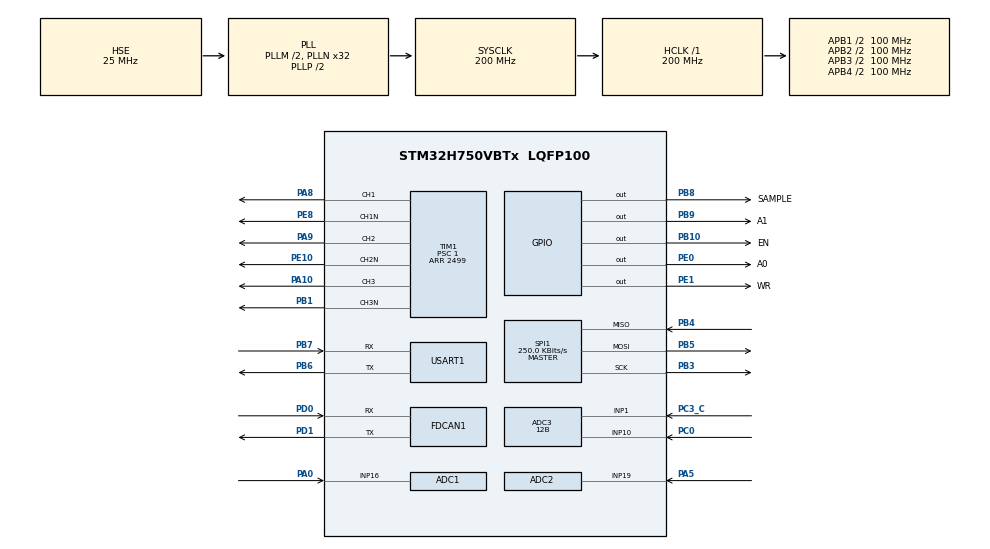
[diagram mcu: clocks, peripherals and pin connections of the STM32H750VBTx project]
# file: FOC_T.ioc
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ADC1.Channel-0\#ChannelRegularConversion=ADC_CHANNEL_16
ADC1.ClockPrescaler=ADC_CLOCK_ASYNC_DIV4
ADC1.EOCSelection=ADC_EOC_SEQ_CONV
ADC1.EnableInjectedConversion=ENABLE
ADC1.ExternalTrigInjecConv=ADC_EXTERNALTRIGINJEC_T1_TRGO2
ADC1.InjNumberOfConversion=1
ADC1.InjectedChannel-1\#ChannelInjectedConversion=ADC_CHANNEL_16
ADC1.InjectedOffsetNumber-1\#ChannelInjectedConversion=ADC_OFFSET_NONE
ADC1.InjectedOffsetSaturation-1\#ChannelInjectedConversion=DISABLE
ADC1.InjectedRank-1\#ChannelInjectedConversion=1
ADC1.InjectedSamplingTime-1\#ChannelInjectedConversion=ADC_SAMPLETIME_64CYCLES_5
ADC1.NbrOfConversionFlag=1
ADC1.OffsetNumber-0\#ChannelRegularConversion=ADC_OFFSET_NONE
ADC1.OffsetSignedSaturation-0\#ChannelRegularConversion=DISABLE
ADC1.Overrun=ADC_OVR_DATA_PRESERVED
ADC1.Rank-0\#ChannelRegularConversion=1
ADC1.Resolution=ADC_RESOLUTION_12B
ADC1.SamplingTime-0\#ChannelRegularConversion=ADC_SAMPLETIME_1CYCLE_5
ADC1.master=1
ADC2.ClockPrescaler=ADC_CLOCK_ASYNC_DIV4
ADC2.EOCSelection=ADC_EOC_SEQ_CONV
ADC2.EnableInjectedConversion=ENABLE
ADC2.EnableRegularConversion=DISABLE
ADC2.ExternalTrigInjecConv=ADC_EXTERNALTRIGINJEC_T1_TRGO2
ADC2.InjNumberOfConversion=1
ADC2.InjectedChannel-1\#ChannelInjectedConversion=ADC_CHANNEL_19
ADC2.InjectedOffsetNumber-1\#ChannelInjectedConversion=ADC_OFFSET_NONE
ADC2.InjectedOffsetSaturation-1\#ChannelInjectedConversion=DISABLE
ADC2.InjectedRank-1\#ChannelInjectedConversion=1
ADC2.InjectedSamplingTime-1\#ChannelInjectedConversion=ADC_SAMPLETIME_64CYCLES_5
ADC2.Resolution=ADC_RESOLUTION_12B
ADC3.ClockPrescaler=ADC_CLOCK_ASYNC_DIV4
ADC3.EOCSelection=ADC_EOC_SEQ_CONV
ADC3.EnableInjectedConversion=ENABLE
ADC3.EnableRegularConversion=DISABLE
ADC3.ExternalTrigInjecConv=ADC_EXTERNALTRIGINJEC_T1_TRGO2
ADC3.InjNumberOfConversion=2
ADC3.InjectedChannel-1\#ChannelInjectedConversion=ADC_CHANNEL_10
ADC3.InjectedChannel-2\#ChannelInjectedConversion=ADC_CHANNEL_1
ADC3.InjectedOffsetNumber-1\#ChannelInjectedConversion=ADC_OFFSET_NONE
ADC3.InjectedOffsetNumber-2\#ChannelInjectedConversion=ADC_OFFSET_NONE
ADC3.InjectedOffsetSaturation-1\#ChannelInjectedConversion=DISABLE
ADC3.InjectedOffsetSaturation-2\#ChannelInjectedConversion=DISABLE
ADC3.InjectedRank-1\#ChannelInjectedConversion=1
ADC3.InjectedRank-2\#ChannelInjectedConversion=2
ADC3.InjectedSamplingTime-1\#ChannelInjectedConversion=ADC_SAMPLETIME_64CYCLES_5
ADC3.InjectedSamplingTime-2\#ChannelInjectedConversion=ADC_SAMPLETIME_64CYCLES_5
ADC3.Resolution=ADC_RESOLUTION_12B
CORTEX_M7.default_mode_Activation=1
FDCAN1.CalculateBaudRateNominal=500000
FDCAN1.CalculateTimeBitNominal=2000
FDCAN1.CalculateTimeQuantumNominal=200.0
FDCAN1.DataPrescaler=5
FDCAN1.DataTimeSeg1=7
FDCAN1.DataTimeSeg2=2
FDCAN1.NominalPrescaler=5
FDCAN1.NominalTimeSeg1=7
FDCAN1.NominalTimeSeg2=2
FDCAN1.RxFifo0ElmtsNbr=8
FDCAN1.StdFiltersNbr=1
FDCAN1.TxFifoQueueElmtsNbr=32
FREERTOS.Tasks01=appTask,24,1024,StartAppTask,Default,NULL,Dynamic,NULL,NULL
FREERTOS.configCHECK_FOR_STACK_OVERFLOW=2
FREERTOS.configTOTAL_HEAP_SIZE=16384
FREERTOS.configUSE_IDLE_HOOK=1
FREERTOS.configUSE_MALLOC_FAILED_HOOK=1
Mcu.Family=STM32H7
Mcu.Name=STM32H750VBTx
Mcu.Package=LQFP100
NVIC.PriorityGroup=NVIC_PRIORITYGROUP_4
NVIC.TIM1_UP_IRQn=true\:0\:0\:true\:false\:true\:false\:true\:true\:true
NVIC.TIM7_IRQn=true\:4\:0\:true\:false\:true\:false\:false\:true\:true
NVIC.TimeBase=TIM7_IRQn
NVIC.TimeBaseIP=TIM7
NVIC.USART1_IRQn=true\:5\:0\:true\:false\:true\:true\:true\:true\:true
PA0.Mode=IN16-Single-Ended
PA0.Signal=ADC1_INP16
PA10.Signal=S_TIM1_CH3
PA13\ (JTMS/SWDIO).Mode=Serial_Wire
PA13\ (JTMS/SWDIO).Signal=DEBUG_JTMS-SWDIO
PA14\ (JTCK/SWCLK).Mode=Serial_Wire
PA14\ (JTCK/SWCLK).Signal=DEBUG_JTCK-SWCLK
PA5.Signal=ADCx_INP19
PA8.Signal=S_TIM1_CH1
PA9.Signal=S_TIM1_CH2
PB1.Mode=PWM Generation3 CH3 CH3N
PB1.Signal=TIM1_CH3N
PB10.GPIO_Label=EN
PB10.Signal=GPIO_Output
PB3\ (JTDO/TRACESWO).Mode=Full_Duplex_Master
PB3\ (JTDO/TRACESWO).Signal=SPI1_SCK
PB4\ (NJTRST).Mode=Full_Duplex_Master
PB4\ (NJTRST).Signal=SPI1_MISO
PB5.Mode=Full_Duplex_Master
PB5.Signal=SPI1_MOSI
PB6.Mode=Asynchronous
PB6.Signal=USART1_TX
PB7.Mode=Asynchronous
PB7.Signal=USART1_RX
PB8.GPIO_Label=SAMPLE
PB8.PinState=GPIO_PIN_SET
PB8.Signal=GPIO_Output
PB9.GPIO_Label=A1
PB9.PinState=GPIO_PIN_SET
PB9.Signal=GPIO_Output
PC0.Signal=ADCx_INP10
PC3_C.Mode=IN1-Single-Ended
PC3_C.Signal=ADC3_INP1
PD0.Mode=FDCAN_Activate
PD0.Signal=FDCAN1_RX
PD1.Mode=FDCAN_Activate
PD1.Signal=FDCAN1_TX
PE0.GPIO_Label=A0
PE0.PinState=GPIO_PIN_SET
PE0.Signal=GPIO_Output
PE1.GPIO_Label=WR
PE1.PinState=GPIO_PIN_SET
PE1.Signal=GPIO_Output
PE10.Mode=PWM Generation2 CH2 CH2N
PE10.Signal=TIM1_CH2N
PE8.Mode=PWM Generation1 CH1 CH1N
PE8.Signal=TIM1_CH1N
PH0-OSC_IN\ (PH0).Mode=HSE-External-Oscillator
PH0-OSC_IN\ (PH0).Signal=RCC_OSC_IN
PH1-OSC_OUT\ (PH1).Mode=HSE-External-Oscillator
PH1-OSC_OUT\ (PH1).Signal=RCC_OSC_OUT
ProjectManager.HeapSize=0x200
ProjectManager.StackSize=0x1000
ProjectManager.TargetToolchain=MDK-ARM V5.32
RCC.ADCCLockSelection=RCC_ADCCLKSOURCE_CLKP
RCC.ADCFreq_Value=64000000
RCC.APB1Freq_Value=100000000
RCC.APB2Freq_Value=100000000
RCC.APB3Freq_Value=100000000
RCC.APB4Freq_Value=100000000
RCC.CortexFreq_Value=200000000
RCC.D1PPRE=RCC_APB3_DIV2
RCC.D2PPRE1=RCC_APB1_DIV2
RCC.D2PPRE2=RCC_APB2_DIV2
RCC.D3PPRE=RCC_APB4_DIV2
RCC.DIVM1=2
RCC.DIVN1=32
RCC.FDCANCLockSelection=RCC_FDCANCLKSOURCE_HSE
RCC.HCLKFreq_Value=200000000
RCC.PLL2FRACN=0
RCC.PLL3FRACN=0
RCC.PLLFRACN=0
RCC.PLLSourceVirtual=RCC_PLLSOURCE_HSE
RCC.PWR_Regulator_Voltage_Scale=PWR_REGULATOR_VOLTAGE_SCALE1
RCC.SPI123CLockSelection=RCC_SPI123CLKSOURCE_CLKP
RCC.SYSCLKFreq_VALUE=200000000
RCC.SYSCLKSource=RCC_SYSCLKSOURCE_PLLCLK
RCC.USBFreq_Value=200000000
SH.ADCx_INP10.0=ADC3_INP10,IN10-Single-Ended
SH.ADCx_INP19.0=ADC2_INP19,IN19-Single-Ended
SH.S_TIM1_CH1.0=TIM1_CH1,PWM Generation1 CH1 CH1N
SH.S_TIM1_CH2.0=TIM1_CH2,PWM Generation2 CH2 CH2N
SH.S_TIM1_CH3.0=TIM1_CH3,PWM Generation3 CH3 CH3N
SPI1.BaudRatePrescaler=SPI_BAUDRATEPRESCALER_256
SPI1.CLKPhase=SPI_PHASE_2EDGE
SPI1.CalculateBaudRate=250.0 KBits/s
SPI1.DataSize=SPI_DATASIZE_8BIT
SPI1.Direction=SPI_DIRECTION_2LINES
SPI1.Mode=SPI_MODE_MASTER
SPI1.NSSPMode=SPI_NSS_PULSE_DISABLE
SPI1.VirtualType=VM_MASTER
TIM1.Channel-PWM\ Generation1\ CH1\ CH1N=TIM_CHANNEL_1
TIM1.Channel-PWM\ Generation2\ CH2\ CH2N=TIM_CHANNEL_2
TIM1.Channel-PWM\ Generation3\ CH3\ CH3N=TIM_CHANNEL_3
TIM1.Channel-PWM\ Generation4\ No\ Output=TIM_CHANNEL_4
TIM1.CounterMode=TIM_COUNTERMODE_CENTERALIGNED1
TIM1.DeadTime=100
TIM1.OCMode_PWM-PWM\ Generation4\ No\ Output=TIM_OCMODE_PWM2
TIM1.Period=2499
TIM1.Prescaler=1
TIM1.Pulse-PWM\ Generation4\ No\ Output=1250
TIM1.RepetitionCounter=1
TIM1.TIM_MasterOutputTrigger=TIM_TRGO_UPDATE
TIM1.TIM_MasterOutputTrigger2=TIM_TRGO2_OC4REF
USART1.FIFOMode=FIFOMODE_DISABLE
USART1.VirtualMode-Asynchronous=VM_ASYNC
VP_FREERTOS_VS_CMSIS_V2.Mode=CMSIS_V2
VP_MEMORYMAP_VS_MEMORYMAP.Mode=CurAppReg
VP_RNG_VS_RNG.Mode=RNG_Activate
VP_SYS_VS_tim7.Mode=TIM7
VP_TIM1_VS_ClockSourceINT.Mode=Internal
VP_TIM1_VS_no_output4.Mode=PWM Generation4 No Output
board=custom

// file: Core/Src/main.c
/* USER CODE BEGIN Header */
/**
  ******************************************************************************
  * @file           : main.c
  * @brief          : Main program body
  ******************************************************************************
  * @attention
  *
  * Copyright (c) 2026 STMicroelectronics.
  * All rights reserved.
  *
  * This software is licensed under terms that can be found in the LICENSE file
  * in the root directory of this software component.
  * If no LICENSE file comes with this software, it is provided AS-IS.
  *
  ******************************************************************************
  */
/* USER CODE END Header */
#include "main.h"
#include "cmsis_os.h"
#include "adc.h"
#include "fdcan.h"
#include "rng.h"
#include "spi.h"
#include "tim.h"
#include "usart.h"
#include "gpio.h"

/* USER CODE BEGIN Includes */
#include "app_runtime.h"
#include "board_safety.h"
/* USER CODE END Includes */

void SystemClock_Config(void);
void PeriphCommonClock_Config(void);
static void MPU_Config(void);
void MX_FREERTOS_Init(void);

int main(void)
{

  /* MPU Configuration--------------------------------------------------------*/
  MPU_Config();

  /* MCU Configuration--------------------------------------------------------*/

  /* Reset of all peripherals, Initializes the Flash interface and the Systick. */
  HAL_Init();

  /* USER CODE BEGIN Init */
  BoardSafety_InitSafe();
  /* USER CODE END Init */

  /* Configure the system clock */
  SystemClock_Config();

  /* Configure the peripherals common clocks */
  PeriphCommonClock_Config();

  /* Initialize all configured peripherals */
  MX_GPIO_Init();
  MX_TIM1_Init();
  MX_ADC1_Init();
  MX_ADC2_Init();
  MX_ADC3_Init();
  MX_SPI1_Init();
  MX_USART1_UART_Init();
  MX_FDCAN1_Init();
  MX_RNG_Init();
  /* USER CODE BEGIN 2 */
  AppRuntime_Init();
  /* USER CODE END 2 */

  /* Init scheduler */
  osKernelInitialize();  /* Call init function for freertos objects (in cmsis_os2.c) */
  MX_FREERTOS_Init();

  /* Start scheduler */
  osKernelStart();

  /* We should never get here as control is now taken by the scheduler */

  /* Infinite loop */
  /* USER CODE BEGIN WHILE */
  BoardSafety_Fatal(BOARD_FAULT_KERNEL); /* osKernelStart must not return. */
  while (1)
  {
    /* USER CODE END WHILE */

  }
}

void SystemClock_Config(void)
{
  RCC_OscInitTypeDef RCC_OscInitStruct = {0};
  RCC_ClkInitTypeDef RCC_ClkInitStruct = {0};

  /** Supply configuration update enable
  */
  HAL_PWREx_ConfigSupply(PWR_LDO_SUPPLY);

  /** Configure the main internal regulator output voltage
  */
  __HAL_PWR_VOLTAGESCALING_CONFIG(PWR_REGULATOR_VOLTAGE_SCALE1);

  while(!__HAL_PWR_GET_FLAG(PWR_FLAG_VOSRDY)) {}

  /** Initializes the RCC Oscillators according to the specified parameters
  * in the RCC_OscInitTypeDef structure.
  */
  RCC_OscInitStruct.OscillatorType = RCC_OSCILLATORTYPE_HSI48|RCC_OSCILLATORTYPE_HSI
                              |RCC_OSCILLATORTYPE_HSE;
  RCC_OscInitStruct.HSEState = RCC_HSE_ON;
  RCC_OscInitStruct.HSIState = RCC_HSI_DIV1;
  RCC_OscInitStruct.HSICalibrationValue = RCC_HSICALIBRATION_DEFAULT;
  RCC_OscInitStruct.HSI48State = RCC_HSI48_ON;
  RCC_OscInitStruct.PLL.PLLState = RCC_PLL_ON;
  RCC_OscInitStruct.PLL.PLLSource = RCC_PLLSOURCE_HSE;
  RCC_OscInitStruct.PLL.PLLM = 2;
  RCC_OscInitStruct.PLL.PLLN = 32;
  RCC_OscInitStruct.PLL.PLLP = 2;
  RCC_OscInitStruct.PLL.PLLQ = 2;
  RCC_OscInitStruct.PLL.PLLR = 2;
  RCC_OscInitStruct.PLL.PLLRGE = RCC_PLL1VCIRANGE_3;
  RCC_OscInitStruct.PLL.PLLVCOSEL = RCC_PLL1VCOWIDE;
  RCC_OscInitStruct.PLL.PLLFRACN = 0;
  if (HAL_RCC_OscConfig(&RCC_OscInitStruct) != HAL_OK)
  {
    Error_Handler();
  }

  /** Initializes the CPU, AHB and APB buses clocks
  */
  RCC_ClkInitStruct.ClockType = RCC_CLOCKTYPE_HCLK|RCC_CLOCKTYPE_SYSCLK
                              |RCC_CLOCKTYPE_PCLK1|RCC_CLOCKTYPE_PCLK2
                              |RCC_CLOCKTYPE_D3PCLK1|RCC_CLOCKTYPE_D1PCLK1;
  RCC_ClkInitStruct.SYSCLKSource = RCC_SYSCLKSOURCE_PLLCLK;
  RCC_ClkInitStruct.SYSCLKDivider = RCC_SYSCLK_DIV1;
  RCC_ClkInitStruct.AHBCLKDivider = RCC_HCLK_DIV1;
  RCC_ClkInitStruct.APB3CLKDivider = RCC_APB3_DIV2;
  RCC_ClkInitStruct.APB1CLKDivider = RCC_APB1_DIV2;
  RCC_ClkInitStruct.APB2CLKDivider = RCC_APB2_DIV2;
  RCC_ClkInitStruct.APB4CLKDivider = RCC_APB4_DIV2;

  if (HAL_RCC_ClockConfig(&RCC_ClkInitStruct, FLASH_LATENCY_2) != HAL_OK)
  {
    Error_Handler();
  }
}

void PeriphCommonClock_Config(void)
{
  RCC_PeriphCLKInitTypeDef PeriphClkInitStruct = {0};

  /** Initializes the peripherals clock
  */
  PeriphClkInitStruct.PeriphClockSelection = RCC_PERIPHCLK_CKPER;
  PeriphClkInitStruct.CkperClockSelection = RCC_CLKPSOURCE_HSI;
  if (HAL_RCCEx_PeriphCLKConfig(&PeriphClkInitStruct) != HAL_OK)
  {
    Error_Handler();
  }
}

 /* MPU Configuration */

void MPU_Config(void)
{
  MPU_Region_InitTypeDef MPU_InitStruct = {0};

  /* Disables the MPU */
  HAL_MPU_Disable();

  /** Initializes and configures the Region and the memory to be protected
  */
  MPU_InitStruct.Enable = MPU_REGION_ENABLE;
  MPU_InitStruct.Number = MPU_REGION_NUMBER0;
  MPU_InitStruct.BaseAddress = 0x0;
  MPU_InitStruct.Size = MPU_REGION_SIZE_4GB;
  MPU_InitStruct.SubRegionDisable = 0x87;
  MPU_InitStruct.TypeExtField = MPU_TEX_LEVEL0;
  MPU_InitStruct.AccessPermission = MPU_REGION_NO_ACCESS;
  MPU_InitStruct.DisableExec = MPU_INSTRUCTION_ACCESS_DISABLE;
  MPU_InitStruct.IsShareable = MPU_ACCESS_SHAREABLE;
  MPU_InitStruct.IsCacheable = MPU_ACCESS_NOT_CACHEABLE;
  MPU_InitStruct.IsBufferable = MPU_ACCESS_NOT_BUFFERABLE;

  HAL_MPU_ConfigRegion(&MPU_InitStruct);
  /* Enables the MPU */
  HAL_MPU_Enable(MPU_PRIVILEGED_DEFAULT);

}

void HAL_TIM_PeriodElapsedCallback(TIM_HandleTypeDef *htim)
{
  /* USER CODE BEGIN Callback 0 */
  if (htim->Instance == TIM1)
  {
    AppRuntime_FastISR();
    return;
  }
  /* USER CODE END Callback 0 */
  if (htim->Instance == TIM7)
  {
    HAL_IncTick();
  }
}

void Error_Handler(void)
{
  /* USER CODE BEGIN Error_Handler_Debug */
  BoardSafety_Fatal(BOARD_FAULT_HAL);
  /* USER CODE END Error_Handler_Debug */
}
#ifdef USE_FULL_ASSERT
/**
  * @brief  Reports the name of the source file and the source line number
  *         where the assert_param error has occurred.
  * @param  file: pointer to the source file name
  * @param  line: assert_param error line source number
  * @retval None
  */
void assert_failed(uint8_t *file, uint32_t line)
{
  /* USER CODE BEGIN 6 */
  (void)file;
  (void)line;
  BoardSafety_Fatal(BOARD_FAULT_ASSERT);
  /* USER CODE END 6 */
}
#endif /* USE_FULL_ASSERT */

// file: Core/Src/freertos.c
/* USER CODE BEGIN Header */
/**
  ******************************************************************************
  * File Name          : freertos.c
  * Description        : Code for freertos applications
  ******************************************************************************
  * @attention
  *
  * Copyright (c) 2026 STMicroelectronics.
  * All rights reserved.
  *
  * This software is licensed under terms that can be found in the LICENSE file
  * in the root directory of this software component.
  * If no LICENSE file comes with this software, it is provided AS-IS.
  *
  ******************************************************************************
  */
/* USER CODE END Header */

#include "FreeRTOS.h"
#include "task.h"
#include "main.h"
#include "cmsis_os.h"

/* USER CODE BEGIN Includes */
#include "app_runtime.h"
#include "app_policy.h"
#include "board_safety.h"
/* USER CODE END Includes */

/* Definitions for appTask */
osThreadId_t appTaskHandle;
const osThreadAttr_t appTask_attributes = {
  .name = "appTask",
  .stack_size = 1024 * 4,
  .priority = (osPriority_t) osPriorityNormal,
};

/* USER CODE BEGIN FunctionPrototypes */
#if AXIS_COMMAND_BENCH_ENABLE
static void AppTaskWaitNext(uint32_t *deadline, uint32_t *catchup_used);
#endif
/* USER CODE END FunctionPrototypes */

void StartAppTask(void *argument);

void MX_FREERTOS_Init(void); /* (MISRA C 2004 rule 8.1) */

/* Hook prototypes */
void vApplicationIdleHook(void);
void vApplicationStackOverflowHook(xTaskHandle xTask, signed char *pcTaskName);
void vApplicationMallocFailedHook(void);

/* USER CODE BEGIN 2 */
void vApplicationIdleHook(void)
{
  static uint32_t last_probe_tick;
  uint32_t now;
  uint32_t free_bytes;

  /* appTask is created before scheduler start and is never deleted/replaced.
   * NULL would measure the idle task itself, so never pass it to this API. */
  if (appTaskHandle == NULL)
  {
    return;
  }
#if AXIS_COMMAND_BENCH_ENABLE
  AppRuntime_ServiceIdleTelemetry();
  if (app_stack_probe_enabled == 0U)
  {
    return;
  }
#endif
  now = HAL_GetTick();
  if ((uint32_t)(now - last_probe_tick) < APP_DIAGNOSTIC_PERIOD_MS)
  {
    return;
  }

  /* Kernel V10.3.1 scans the task's stack fill without suspending scheduling
   * or masking interrupts. appTask and TIM1 can preempt this idle-priority
   * work. No wait, allocation, output, or blocking API is allowed here.
   * Stack use may change while preempted: this is delayed diagnostic evidence,
   * not overflow protection or proof of worst-case stack safety. */
  free_bytes = (uint32_t)uxTaskGetStackHighWaterMark((TaskHandle_t)appTaskHandle)
             * (uint32_t)sizeof(StackType_t);
  if (free_bytes < app_stack_min_free_bytes)
  {
    app_stack_min_free_bytes = free_bytes;
  }
  /* Rate-limit from completion: never catch up with back-to-back scans if
   * higher-priority work starved idle. A stale timestamp remains observable. */
  last_probe_tick = HAL_GetTick();
  app_stack_probe_last_tick_ms = last_probe_tick;
  app_stack_probe_count++;
}
/* USER CODE END 2 */

/* USER CODE BEGIN 4 */
void vApplicationStackOverflowHook(xTaskHandle xTask, signed char *pcTaskName)
{
  (void)xTask;
  (void)pcTaskName;
  BoardSafety_Fatal(BOARD_FAULT_STACK);
}
/* USER CODE END 4 */

/* USER CODE BEGIN 5 */
void vApplicationMallocFailedHook(void)
{
  BoardSafety_Fatal(BOARD_FAULT_MALLOC);
}
/* USER CODE END 5 */

void MX_FREERTOS_Init(void) {
  /* USER CODE BEGIN Init */
  /* Also catches a failed osKernelInitialize without modifying Cube's call. */
  if (osKernelGetState() != osKernelReady)
  {
    BoardSafety_Fatal(BOARD_FAULT_KERNEL);
  }
  /* USER CODE END Init */

  /* Create the thread(s) */
  /* creation of appTask */
  appTaskHandle = osThreadNew(StartAppTask, NULL, &appTask_attributes);

  /* USER CODE BEGIN RTOS_THREADS */
  if (appTaskHandle == NULL)
  {
    BoardSafety_Fatal(BOARD_FAULT_TASK_CREATE);
  }
  /* USER CODE END RTOS_THREADS */

}

void StartAppTask(void *argument)
{
  /* USER CODE BEGIN StartAppTask */
  uint32_t deadline;
#if AXIS_COMMAND_BENCH_ENABLE
  uint32_t catchup_used = 0U;
#else
  uint32_t now;
#endif
  uint32_t started;
#if !AXIS_COMMAND_BENCH_ENABLE
  osStatus_t status;
#endif
  (void)argument;
  AppRuntime_TaskStart();
  deadline = osKernelGetTickCount() + APP_PERIOD_TICKS;
  for (;;)
  {
    started = DWT->CYCCNT;
    AppRuntime_BackgroundStep();
    app_task_last_cycles = (uint32_t)(DWT->CYCCNT - started);
    if (app_task_last_cycles > app_task_max_cycles)
    {
      app_task_max_cycles = app_task_last_cycles;
    }
#if AXIS_COMMAND_BENCH_ENABLE
    AppTaskWaitNext(&deadline, &catchup_used);
#else
    now = osKernelGetTickCount();
    if (APP_TIME_REACHED(now, deadline))
    {
      app_task_deadline_misses++;
    }
    deadline = APP_NEXT_WAKE(now, deadline);
    status = osDelayUntil(deadline);
    if (status == osErrorParameter)
    {
      /* Tick advanced between the check and delay. Yield one tick, never spin. */
      app_task_deadline_misses++;
      if (osDelay(APP_PERIOD_TICKS) != osOK)
      {
        BoardSafety_Fatal(BOARD_FAULT_SCHEDULER);
      }
      deadline = osKernelGetTickCount();
    }
    else if (status != osOK)
    {
      BoardSafety_Fatal(BOARD_FAULT_SCHEDULER);
    }
    deadline += APP_PERIOD_TICKS;
#endif
  }
  /* USER CODE END StartAppTask */
}

/* USER CODE BEGIN Application */
#if AXIS_COMMAND_BENCH_ENABLE
/* APP TASK WAIT BEGIN: tested from this production block on the host. */
static void AppTaskWaitNext(uint32_t *deadline, uint32_t *catchup_used)
{
  uint32_t now = osKernelGetTickCount();
  uint32_t late = APP_TIME_REACHED(now, *deadline);
  osStatus_t status;

  if (late != 0U)
  {
    app_task_deadline_misses++;
  }
  if (*catchup_used != 0U)
  {
    /* A positive relative delay enters the kernel's delayed list. CMSIS
     * osDelayUntil can return osOK without blocking after an internal tick
     * race, so it cannot restore the one-shot catch-up allowance here. */
    if (osDelay(APP_PERIOD_TICKS) != osOK)
    {
      BoardSafety_Fatal(BOARD_FAULT_SCHEDULER);
      return;
    }
    *deadline = osKernelGetTickCount() + APP_PERIOD_TICKS;
    *catchup_used = 0U;
    return;
  }
  if (late != 0U)
  {
    /* Run one fresh background iteration, not a replay of missed samples.
     * The next wait must block even if that iteration finishes early. */
    *deadline = now + APP_PERIOD_TICKS;
    *catchup_used = 1U;
    return;
  }

  status = osDelayUntil(*deadline);
  if (status == osErrorParameter)
  {
    /* The deadline expired after the check: consume the same allowance. */
    app_task_deadline_misses++;
    *deadline = osKernelGetTickCount() + APP_PERIOD_TICKS;
    *catchup_used = 1U;
    return;
  }
  if (status != osOK)
  {
    BoardSafety_Fatal(BOARD_FAULT_SCHEDULER);
    return;
  }
  /* No allowance was consumed on this ordinary path. An osOK result alone
   * does not prove it blocked, so do not use it to restore an allowance. */
  *deadline += APP_PERIOD_TICKS;
}
/* APP TASK WAIT END */
#endif
/* USER CODE END Application */
